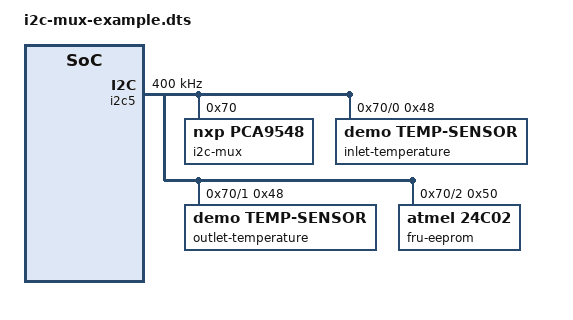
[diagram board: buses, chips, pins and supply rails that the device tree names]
/dts-v1/;
/plugin/;

/*
 * PCA9548-style topology with identical 0x48 sensors on isolated channels.
 * Adapt the controller label and compatible to the actual mux.
 */

/ {
	compatible = "demo,openbmc-study-board";

	fragment@0 {
		target = <&i2c5>;

		__overlay__ {
			status = "okay";
			clock-frequency = <400000>;

			i2c-mux@70 {
				compatible = "nxp,pca9548";
				reg = <0x70>;
				#address-cells = <1>;
				#size-cells = <0>;
				i2c-mux-idle-disconnect;

				i2c@0 {
					reg = <0>;
					#address-cells = <1>;
					#size-cells = <0>;

					inlet-temperature@48 {
						compatible = "demo,temp-sensor";
						reg = <0x48>;
					};
				};

				i2c@1 {
					reg = <1>;
					#address-cells = <1>;
					#size-cells = <0>;

					outlet-temperature@48 {
						compatible = "demo,temp-sensor";
						reg = <0x48>;
					};
				};

				i2c@2 {
					reg = <2>;
					#address-cells = <1>;
					#size-cells = <0>;

					fru-eeprom@50 {
						compatible = "atmel,24c02";
						reg = <0x50>;
						pagesize = <8>;
					};
				};
			};
		};
	};
};

